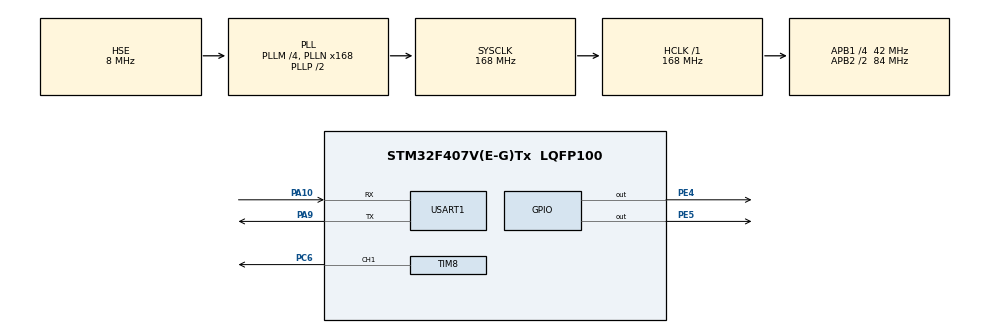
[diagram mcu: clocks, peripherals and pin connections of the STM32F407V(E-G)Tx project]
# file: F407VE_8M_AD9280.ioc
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Mcu.Family=STM32F4
Mcu.Name=STM32F407V(E-G)Tx
Mcu.Package=LQFP100
NVIC.PriorityGroup=NVIC_PRIORITYGROUP_4
NVIC.USART1_IRQn=true\:0\:0\:false\:false\:true\:true\:true
PA10.Mode=Asynchronous
PA10.Signal=USART1_RX
PA13.Mode=Serial_Wire
PA13.Signal=SYS_JTMS-SWDIO
PA14.Mode=Serial_Wire
PA14.Signal=SYS_JTCK-SWCLK
PA9.Mode=Asynchronous
PA9.Signal=USART1_TX
PC14-OSC32_IN.Mode=LSE-External-Oscillator
PC14-OSC32_IN.Signal=RCC_OSC32_IN
PC15-OSC32_OUT.Mode=LSE-External-Oscillator
PC15-OSC32_OUT.Signal=RCC_OSC32_OUT
PC6.Signal=S_TIM8_CH1
PE4.GPIO_ModeDefaultOutputPP=GPIO_MODE_OUTPUT_PP
PE4.GPIO_PuPd=GPIO_PULLUP
PE4.GPIO_Speed=GPIO_SPEED_FREQ_VERY_HIGH
PE4.PinState=GPIO_PIN_SET
PE4.Signal=GPIO_Output
PE5.GPIO_ModeDefaultOutputPP=GPIO_MODE_OUTPUT_PP
PE5.GPIO_PuPd=GPIO_PULLUP
PE5.GPIO_Speed=GPIO_SPEED_FREQ_VERY_HIGH
PE5.PinState=GPIO_PIN_SET
PE5.Signal=GPIO_Output
PH0-OSC_IN.Mode=HSE-External-Oscillator
PH0-OSC_IN.Signal=RCC_OSC_IN
PH1-OSC_OUT.Mode=HSE-External-Oscillator
PH1-OSC_OUT.Signal=RCC_OSC_OUT
ProjectManager.HeapSize=0x200
ProjectManager.StackSize=0x400
ProjectManager.TargetToolchain=MDK-ARM V5.32
RCC.48MHZClocksFreq_Value=84000000
RCC.AHBFreq_Value=168000000
RCC.APB1CLKDivider=RCC_HCLK_DIV4
RCC.APB1Freq_Value=42000000
RCC.APB1TimFreq_Value=84000000
RCC.APB2CLKDivider=RCC_HCLK_DIV2
RCC.APB2Freq_Value=84000000
RCC.APB2TimFreq_Value=168000000
RCC.CortexFreq_Value=168000000
RCC.HCLKFreq_Value=168000000
RCC.HSE_VALUE=8000000
RCC.HSI_VALUE=16000000
RCC.PLLM=4
RCC.PLLN=168
RCC.PLLSourceVirtual=RCC_PLLSOURCE_HSE
RCC.SYSCLKFreq_VALUE=168000000
RCC.SYSCLKSource=RCC_SYSCLKSOURCE_PLLCLK
RCC.VCOOutputFreq_Value=336000000
SH.S_TIM8_CH1.0=TIM8_CH1,PWM Generation1 CH1
TIM8.AutoReloadPreload=TIM_AUTORELOAD_PRELOAD_ENABLE
TIM8.Channel-PWM\ Generation1\ CH1=TIM_CHANNEL_1
TIM8.OCMode_PWM-PWM\ Generation1\ CH1=TIM_OCMODE_PWM1
TIM8.Period=167
TIM8.Prescaler=9
TIM8.Pulse-PWM\ Generation1\ CH1=84
TIM8.TIM_MasterOutputTrigger=TIM_TRGO_UPDATE
USART1.VirtualMode=VM_ASYNC
board=custom

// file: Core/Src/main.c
/* USER CODE BEGIN Header */
/**
  ******************************************************************************
  * @file           : main.c
  * @brief          : Main program body
  ******************************************************************************
  * @attention
  *
  * <h2><center>&copy; Copyright (c) 2021 STMicroelectronics.
  * All rights reserved.</center></h2>
  *
  * This software component is licensed by ST under BSD 3-Clause license,
  * the "License"; You may not use this file except in compliance with the
  * License. You may obtain a copy of the License at:
  *                        opensource.org/licenses/BSD-3-Clause
  *
  ******************************************************************************
  */
/* USER CODE END Header */
#include "main.h"
#include "tim.h"
#include "usart.h"
#include "gpio.h"

/* USER CODE BEGIN Includes */
#include "DELAY/delay.h"
#include "USART/myusart1.h"
#include "PARAIO/paraio.h"
/* USER CODE END Includes */

/* USER CODE BEGIN PD */
#define ADC_LEN 1024
/* USER CODE END PD */

/* USER CODE BEGIN PV */
uint8_t adcVal[ADC_LEN];
uint8_t testVal;
/* USER CODE END PV */

void SystemClock_Config(void);
/* USER CODE BEGIN PFP */
void IOInit(void);
/* USER CODE END PFP */

int main(void)
{
  /* USER CODE BEGIN 1 */
  uint16_t i;
  /* USER CODE END 1 */

  /* MCU Configuration--------------------------------------------------------*/

  /* Reset of all peripherals, Initializes the Flash interface and the Systick. */
  HAL_Init();

  /* Configure the system clock */
  SystemClock_Config();

  /* Initialize all configured peripherals */
  MX_GPIO_Init();
  MX_USART1_UART_Init();
  MX_TIM8_Init();
  /* USER CODE BEGIN 2 */
  // HAL_TIM_PWM_Start_DMA(&htim8,TIM_CHANNEL_1, (uint32_t)adcVal, ADC_LEN);
  MyUSART1_Init(&huart1);
  Delay_Init(168);
  HAL_TIM_PWM_Start(&htim8,TIM_CHANNEL_1);
  ParaIO_Init_In(&htim8,8,0);
  // ParaIO_Start_In(adcVal,ADC_LEN);

  /* USER CODE END 2 */

  /* Infinite loop */
  while (1)
  {

    /* USER CODE BEGIN 3 */
    ParaIO_Start_In(adcVal,ADC_LEN);
    testVal=GPIOD->IDR;
    while(!ParaIO_IsTranferCompleted_In())
      ;
    Delay_ms(200);
    for(i = 0; i < ADC_LEN; i++)
    {
      printf("%d\r\n", adcVal[i]);
    }
  }
  /* USER CODE END 3 */
}

void SystemClock_Config(void)
{
  RCC_OscInitTypeDef RCC_OscInitStruct = {0};
  RCC_ClkInitTypeDef RCC_ClkInitStruct = {0};

  /** Configure the main internal regulator output voltage
  */
  __HAL_RCC_PWR_CLK_ENABLE();
  __HAL_PWR_VOLTAGESCALING_CONFIG(PWR_REGULATOR_VOLTAGE_SCALE1);
  /** Initializes the RCC Oscillators according to the specified parameters
  * in the RCC_OscInitTypeDef structure.
  */
  RCC_OscInitStruct.OscillatorType = RCC_OSCILLATORTYPE_HSE;
  RCC_OscInitStruct.HSEState = RCC_HSE_ON;
  RCC_OscInitStruct.PLL.PLLState = RCC_PLL_ON;
  RCC_OscInitStruct.PLL.PLLSource = RCC_PLLSOURCE_HSE;
  RCC_OscInitStruct.PLL.PLLM = 4;
  RCC_OscInitStruct.PLL.PLLN = 168;
  RCC_OscInitStruct.PLL.PLLP = RCC_PLLP_DIV2;
  RCC_OscInitStruct.PLL.PLLQ = 4;
  if (HAL_RCC_OscConfig(&RCC_OscInitStruct) != HAL_OK)
  {
    Error_Handler();
  }
  /** Initializes the CPU, AHB and APB buses clocks
  */
  RCC_ClkInitStruct.ClockType = RCC_CLOCKTYPE_HCLK|RCC_CLOCKTYPE_SYSCLK
                              |RCC_CLOCKTYPE_PCLK1|RCC_CLOCKTYPE_PCLK2;
  RCC_ClkInitStruct.SYSCLKSource = RCC_SYSCLKSOURCE_PLLCLK;
  RCC_ClkInitStruct.AHBCLKDivider = RCC_SYSCLK_DIV1;
  RCC_ClkInitStruct.APB1CLKDivider = RCC_HCLK_DIV4;
  RCC_ClkInitStruct.APB2CLKDivider = RCC_HCLK_DIV2;

  if (HAL_RCC_ClockConfig(&RCC_ClkInitStruct, FLASH_LATENCY_5) != HAL_OK)
  {
    Error_Handler();
  }
}

void Error_Handler(void)
{
  __disable_irq();
  while (1)
  {
  }
}

/************************ (C) COPYRIGHT STMicroelectronics *****END OF FILE****/
